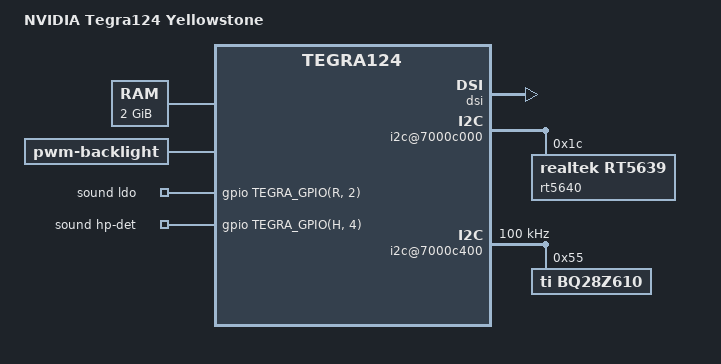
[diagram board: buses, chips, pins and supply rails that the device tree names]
/*
 * arch/arm/boot/dts/tegra124-yellowstone-p1780-1000-a02.dts
 *
 * Copyright (c) 2015, NVIDIA CORPORATION.  All rights reserved.
 *
 * This program is free software; you can redistribute it and/or modify
 * it under the terms of the GNU General Public License as published by
 * the Free Software Foundation; either version 2 of the License, or
 * (at your option) any later version.
 *
 * This program is distributed in the hope that it will be useful, but WITHOUT
 * ANY WARRANTY; without even the implied warranty of MERCHANTABILITY or
 * FITNESS FOR A PARTICULAR PURPOSE.  See the GNU General Public License for
 * more details.
 *
 * You should have received a copy of the GNU General Public License along
 * with this program; if not, write to the Free Software Foundation, Inc.,
 * 51 Franklin Street, Fifth Floor, Boston, MA  02110-1301, USA.
 */

/dts-v1/;

#include "tegra124-yellowstone.dtsi"
#include "tegra124-platforms/tegra124-yellowstone-emc.dtsi"
#include "tegra124-platforms/tegra124-yellowstone-power-tree.dtsi"
#include "tegra124-platforms/tegra124-yellowstone-sensors.dtsi"
#include "tegra124-platforms/tegra124-yellowstone-pinmux.dtsi"
#include "tegra124-platforms/tegra124-yellowstone-gpio.dtsi"
#include "tegra124-platforms/tegra124-yellowstone-keys.dtsi"
//#include "tegra124-platforms/tegra124-yellowstone-sysedp.dtsi"
#include "tegra124-platforms/tegra124-yellowstone-powermon.dtsi"
#include "tegra124-platforms/tegra124-yellowstone-dfll.dtsi"
//#include "panel-j-wuxga-7.dtsi"
#include "tegra124-platforms/tegra124-yellowstone-hdmi.dtsi"
#include <dt-bindings/iio/meter/ina3221x.h>
#include "tegra124-platforms/tegra124-yellowstone-comms.dtsi"

/ {
	model = "NVIDIA Tegra124 Yellowstone";
	compatible = "nvidia,yellowstone", "nvidia,tegra124";
	nvidia,dtsfilename = __FILE__;
	#address-cells = <2>;
	#size-cells = <2>;

	chosen {
		bootargs = "tegraid=40.0.0.00.00 vmalloc=256M video=tegrafb console=ttyS0,115200n8 earlyprintk";
		linux,initrd-start = <0x85000000>;
		linux,initrd-end = <0x851bc400>;

		proc-board {
			id = <0x06f4>;
			sku = <0x2>;
			fab = <0xe8>;
			major_revision = <0x29>;
			minor_revision = <0x0>;
		};
		pmu-board {
			id = <0x06c7>;
			sku = <0x03e9>;
			fab = <0x01>;
			major_revision = <0x43>;
			minor_revision = <0x02>;
		};
		display-board {
			id = <0x065b>;
			sku = <0x0>;
			fab = <0x0>;
			major_revision = <0x0>;
			minor_revision = <0x0>;
		};
	};

	firmware {
		android {
			compatible = "android,firmware";
			hardware = "yellowstone";
			fstab {
				compatible = "android,fstab";
				system {
					compatible = "android,system";
					dev = "/dev/block/platform/sdhci-tegra.3/by-name/APP";
					type = "ext4";
					mnt_flags = "ro";
					fsmgr_flags = "wait";
				};
			};
		};
	};

	memory@0x80000000 {
		device_type = "memory";
		reg = <0x0 0x80000000 0x0 0x80000000>;
	};

	host1x {
		/* tegradc.0 */
		dc@54200000 {
			status = "okay";
			nvidia,dc-flags = <TEGRA_DC_FLAG_ENABLED>;
			nvidia,emc-clk-rate = <204000000>;
			nvidia,cmu-enable = <1>;
			nvidia,low-v-win = <0x2>;
			nvidia,fb-bpp = <32>; /* bits per pixel */
			nvidia,fb-flags = <TEGRA_FB_FLIP_ON_PROBE>;
		};
		/* tegradc.1 */
		dc@54240000 {
			status = "okay";
			nvidia,dc-flags = <TEGRA_DC_FLAG_ENABLED>;
			nvidia,emc-clk-rate = <300000000>;
			nvidia,fb-bpp = <32>; /* bits per pixel */
			nvidia,fb-flags = <TEGRA_FB_FLIP_ON_PROBE>;
		};
		dsi {
			nvidia,dsi-controller-vs = <DSI_VS_1>;
			status = "okay";
			panel-j-wuxga-7 {
				nvidia,dsi-boardinfo = <1627 0 0 0>;
				nvidia,panel-bl-pwm-gpio = <&gpio TEGRA_GPIO(H, 1) 0>; /* PH1 */
				nvidia,panel-rst-gpio = <&gpio TEGRA_GPIO(H, 3) 0>; /* PH3 */
			};
		};
	};

	i2c@7000c000 {
		rt5640: rt5640@1c {
			compatible = "realtek,rt5639";
			reg = <0x1c>;
		};
	};

	backlight {
		status = "okay";
		compatible = "pwm-backlight";
		panel-j-wuxga-7 {
			nvidia,panel-rst-gpio = <&gpio TEGRA_GPIO(H, 3) 0>;
			nvidia,panel-bl-pwm-gpio = <&gpio TEGRA_GPIO(H, 1) 0>;
			nvidia,dsi-te-gpio = <&gpio TEGRA_GPIO(R, 6) 0>;
		};
	};

	sound {
		compatible = "nvidia,tegra-audio-rt5639";
		nvidia,codec_name = "rt5639.0-001c";
		nvidia,codec_dai_name = "rt5639-aif1";
		nvidia,ldo-gpios = <&gpio TEGRA_GPIO(R, 2) 0>;
		nvidia,hp-det-gpios = <&gpio TEGRA_GPIO(H, 4) 0>;
		nvidia,use_codec_jd_irq = <1>;
		nvidia,i2s-param-hifi = <1 1 2 16 48000 2 1536000>;
		nvidia,i2s-param-bt = <3 1 0 16 8000 1 512000>;
		nvidia,i2s-param-baseband = <0 1 2 16 16000 2 1024000>;
	};

	i2c@7000c400 {
		status = "okay";
		clock-frequency = <100000>;

		bq28z610@55 {
			compatible = "ti,bq28z610";
			reg = <0x55>;
			tz-name = "battery-temp";
			alert-threshold = <0x0>;
			one-percent-alerts = <0x1>;
			valert-max = <0x13ec>;
			valert-min = <0x0>;
			vreset-threshold = <0x960>;
			vreset-disable = <0x1>;
			hib-threshold = <0x30>;
			hib-active-threshold = <0x80>;
			bits = <0x12>;
			rcomp = <0x39>;
			rcomp-seg = <0x200>;
			soccheck-a = <0x77>;
			soccheck-b = <0x79>;
			ocvtest = <0xda90>;
			data-tbl = <0x98 0x80 0xb3 0x50 0xb7 0x90 0xb9 0x0 0xba 0x70 0xbc 0x10 0xbc 0x50 0xbc 0xa0 0xbd 0x20 0xbe 0x30 0xbf 0x40 0xc2 0xf0 0xc4 0x20 0xc7 0xe0 0xcb 0xf0 0xd0 0x90 0x0 0x40 0x6 0x70 0xe 0x50 0x12 0x0 0x18 0xd0 0x33 0x10 0x31 0x40 0x35 0xd0 0x18 0xd0 0x19 0x0 0xb 0xf0 0xc 0x10 0xd 0x10 0x7 0x90 0x8 0x0 0x8 0x0>;
		};
	};
};
